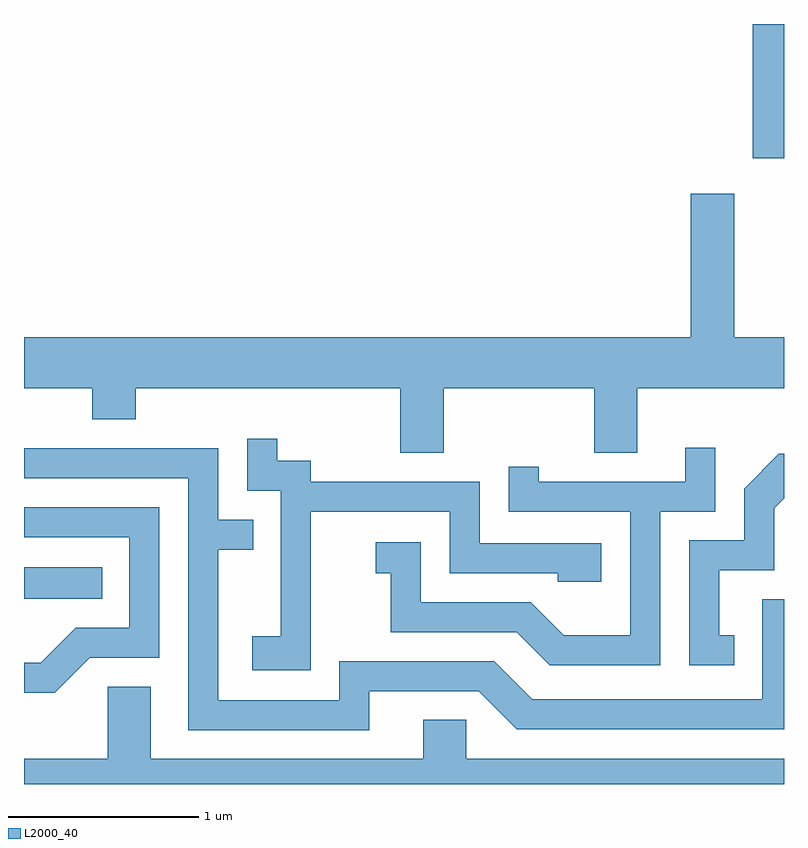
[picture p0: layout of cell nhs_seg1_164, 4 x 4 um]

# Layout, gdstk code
import gdstk
lib = gdstk.Library(unit=1e-6, precision=1e-09)
def R(c, l, rs):  # rectangles x0, y0, x1, y1
    for r in rs: c.add(gdstk.rectangle(r[:2], r[2:], *l))
def P(c, l, *ps):  # polygons
    for p in ps: c.add(gdstk.Polygon(p, *l))
L2000_40 = (2000, 40)

nhs_seg1_164 = lib.new_cell('nhs_seg1_164')
R(nhs_seg1_164, L2000_40, [(189.611,900.686,190.023,900.854), (193.446,903.006,193.611,903.712)])
P(nhs_seg1_164, L2000_40, [(191.819,901.796),(192.611,901.796),(192.611,901.456),(192.839,901.456),(192.839,901.796),(193.611,901.796),(193.611,902.064),(193.349,902.064),(193.349,902.819),(193.121,902.819),(193.121,902.064),(189.611,902.064),(189.611,901.796),(189.971,901.796),(189.971,901.631),(190.199,901.631),(190.199,901.796),(191.591,901.796),(191.591,901.456),(191.819,901.456)],
  [(191.119,901.146),(191.851,901.146),(191.851,900.821),(192.421,900.821),(192.421,900.776),(192.649,900.776),(192.649,900.979),(192.009,900.979),(192.009,901.304),(191.119,901.304),(191.119,901.414),(190.944,901.414),(190.944,901.528),(190.786,901.528),(190.786,901.256),(190.961,901.256),(190.961,900.489),(190.811,900.489),(190.811,900.311),(191.119,900.311)],
  [(192.959,901.146),(193.249,901.146),(193.249,901.483),(193.091,901.483),(193.091,901.304),(192.319,901.304),(192.319,901.383),(192.161,901.383),(192.161,901.146),(192.801,901.146),(192.801,900.494),(192.452,900.494),(192.277,900.669),(191.699,900.669),(191.699,900.984),(191.463,900.984),(191.463,900.821),(191.541,900.821),(191.541,900.511),(192.204,900.511),(192.379,900.336),(192.959,900.336)],
  [(191.429,900.201),(192.004,900.201),(192.204,900.001),(193.611,900.001),(193.611,900.684),(193.496,900.684),(193.496,900.159),(192.287,900.159),(192.087,900.359),(191.271,900.359),(191.271,900.154),(190.634,900.154),(190.634,900.946),(190.818,900.946),(190.818,901.104),(190.634,901.104),(190.634,901.479),(189.611,901.479),(189.611,901.321),(190.476,901.321),(190.476,899.996),(191.429,899.996)],
  [(193.348,900.494),(193.269,900.494),(193.269,900.836),(193.559,900.836),(193.559,901.164),(193.611,901.216),(193.611,901.449),(193.584,901.449),(193.401,901.267),(193.401,900.994),(193.111,900.994),(193.111,900.336),(193.348,900.336)],
  [(189.957,900.376),(190.324,900.376),(190.324,901.169),(189.611,901.169),(189.611,901.011),(190.166,901.011),(190.166,900.534),(189.884,900.534),(189.699,900.349),(189.611,900.349),(189.611,900.191),(189.772,900.191)],
  [(193.611,899.844),(191.939,899.844),(191.939,900.049),(191.711,900.049),(191.711,899.844),(190.279,899.844),(190.279,900.224),(190.051,900.224),(190.051,899.844),(189.611,899.844),(189.611,899.712),(193.611,899.712)])

lib.write_gds('nhs_seg1_164.gds')
